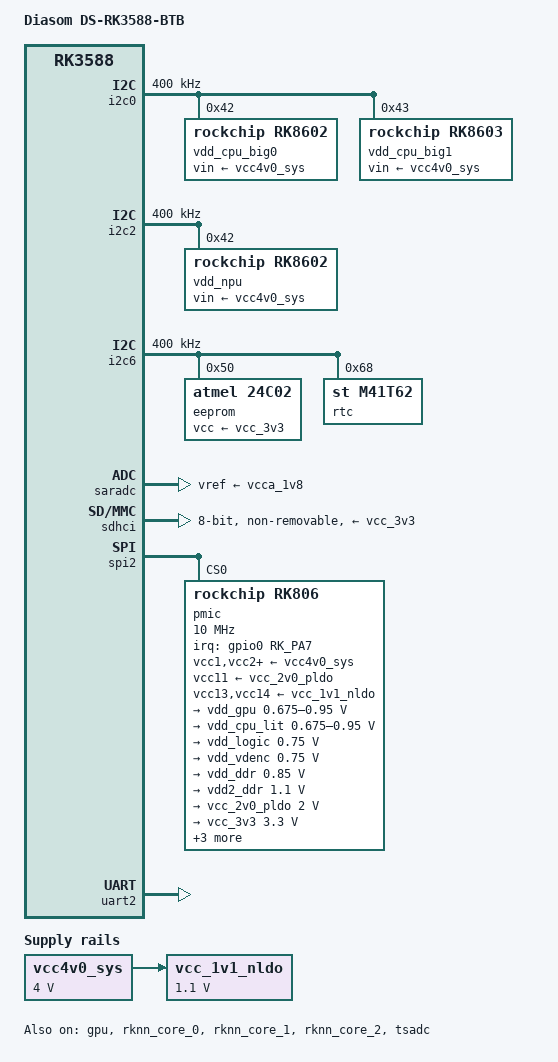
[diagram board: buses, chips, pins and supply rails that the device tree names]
/* SPDX-License-Identifier: GPL-2.0+ */
/* SPDX-FileCopyrightText: Alexander Shiyan <shc_work@mail.ru> */

/dts-v1/;

#include <arm64/rockchip/rk8xx.h>
#include <arm64/rockchip/rk3588j.dtsi>
#include <dt-bindings/gpio/gpio.h>

#include "rk3588.dtsi"

/ {
	model = "Diasom DS-RK3588-BTB";
	compatible = "diasom,ds-rk3588-btb",
		     "rockchip,rk3588";
	chassis-type = "embedded";
	barebox,deep-probe;

	aliases {
		mmc0 = &sdhci;
		rtc0 = &rtc;
	};

	chosen: chosen {
		stdout-path = "serial2:1500000n8";

		environment-emmc {
			compatible = "barebox,environment";
			device-path = &sdhci, "partname:env";
			status = "disabled";
		};
	};

	/* Temporary add until 7.3 */
	can1: can@fea60000 {
		compatible = "rockchip,rk3588-canfd";
		reg = <0x0 0xfea60000 0x0 0x1000>;
		interrupts = <GIC_SPI 342 IRQ_TYPE_LEVEL_HIGH 0>;
		clocks = <&cru CLK_CAN1>, <&cru PCLK_CAN1>;
		clock-names = "baud", "pclk";
		assigned-clocks = <&cru CLK_CAN1>;
		assigned-clock-rates = <300000000>;
		resets = <&cru SRST_CAN1>, <&cru SRST_P_CAN1>;
		reset-names = "can", "apb";
		status = "disabled";
	};

	/* Temporary add until 7.3 */
	can2: can@fea70000 {
		compatible = "rockchip,rk3588-canfd";
		reg = <0x0 0xfea70000 0x0 0x1000>;
		interrupts = <GIC_SPI 343 IRQ_TYPE_LEVEL_HIGH 0>;
		clocks = <&cru CLK_CAN2>, <&cru PCLK_CAN2>;
		clock-names = "baud", "pclk";
		assigned-clocks = <&cru CLK_CAN2>;
		assigned-clock-rates = <300000000>;
		resets = <&cru SRST_CAN2>, <&cru SRST_P_CAN2>;
		reset-names = "can", "apb";
		status = "disabled";
	};

	vcc_1v1_nldo: vcc1v1-nldo-regulator {
		compatible = "regulator-fixed";
		regulator-name = "vcc_1v1_nldo";
		regulator-always-on;
		regulator-boot-on;
		regulator-min-microvolt = <1100000>;
		regulator-max-microvolt = <1100000>;
		vin-supply = <&vcc4v0_sys>;
	};

	vcc4v0_sys: vcc4v0-sys-regulator {
		compatible = "regulator-fixed";
		regulator-name = "4v0_sys";
		regulator-always-on;
		regulator-boot-on;
		regulator-min-microvolt = <4000000>;
		regulator-max-microvolt = <4000000>;
	};
};

/delete-node/ &xin32k;

&cpu_b0 {
	cpu-supply = <&vdd_cpu_big0>;
};

&cpu_b1 {
	cpu-supply = <&vdd_cpu_big0>;
};

&cpu_b2 {
	cpu-supply = <&vdd_cpu_big1>;
};

&cpu_b3 {
	cpu-supply = <&vdd_cpu_big1>;
};

&cpu_l0 {
	cpu-supply = <&vdd_cpu_lit>;
};

&cpu_l1 {
	cpu-supply = <&vdd_cpu_lit>;
};

&cpu_l2 {
	cpu-supply = <&vdd_cpu_lit>;
};

&cpu_l3 {
	cpu-supply = <&vdd_cpu_lit>;
};

&gpu {
	mali-supply = <&vdd_gpu>;
	status = "okay";
};

&hdmi0 {
	pinctrl-0 = <&hdmim0_tx0_hpd &hdmim2_tx0_scl &hdmim2_tx0_sda>;
};

&hdmi0_in {
	hdmi0_in_vp0: endpoint {
		remote-endpoint = <&vp0_out_hdmi0>;
	};
};

&hdmi0_out {
	hdmi0_out_con: endpoint {
		remote-endpoint = <&hdmi0_con_in>;
	};
};

&hdmi0_sound {
	simple-audio-card,name = "HDMI0";
};

&i2c0 {
	pinctrl-0 = <&i2c0m2_xfer>;
	clock-frequency = <400000>;
	status = "okay";

	vdd_cpu_big0: regulator@42 {
		compatible = "rockchip,rk8602";
		reg = <0x42>;
		fcs,suspend-voltage-selector = <1>;
		regulator-name = "vdd_cpu_big0";
		regulator-boot-on;
		regulator-min-microvolt = <675000>;
		regulator-max-microvolt = <950000>;
		regulator-enable-ramp-delay = <500>;
		regulator-ramp-delay = <2300>;
		vin-supply = <&vcc4v0_sys>;

		regulator-state-mem {
			regulator-off-in-suspend;
		};
	};

	vdd_cpu_big1: regulator@43 {
		compatible = "rockchip,rk8603", "rockchip,rk8602";
		reg = <0x43>;
		fcs,suspend-voltage-selector = <1>;
		regulator-name = "vdd_cpu_big1";
		regulator-boot-on;
		regulator-min-microvolt = <675000>;
		regulator-max-microvolt = <950000>;
		regulator-enable-ramp-delay = <500>;
		regulator-ramp-delay = <2300>;
		vin-supply = <&vcc4v0_sys>;

		regulator-state-mem {
			regulator-off-in-suspend;
		};
	};
};

&i2c2 {
	clock-frequency = <400000>;
	status = "okay";

	vdd_npu: regulator@42 {
		compatible = "rockchip,rk8602";
		reg = <0x42>;
		fcs,suspend-voltage-selector = <1>;
		regulator-name = "vdd_npu";
		/* boot/always-on are used to proper exit from "freeze" */
		regulator-always-on;
		regulator-boot-on;
		regulator-min-microvolt = <675000>;
		regulator-max-microvolt = <950000>;
		regulator-enable-ramp-delay = <500>;
		regulator-ramp-delay = <2300>;
		vin-supply = <&vcc4v0_sys>;

		regulator-state-mem {
			regulator-off-in-suspend;
		};
	};
};

&i2c6 {
	clock-frequency = <400000>;
	status = "okay";

	/* 24aa025e48 */
	eeprom@50 {
		compatible = "atmel,24c02";
		reg = <0x50>;
		pagesize = <16>;
		vcc-supply = <&vcc_3v3>;

		nvmem-layout {
			compatible = "fixed-layout";
			#address-cells = <1>;
			#size-cells = <1>;

			mac0: mac-address@fa {
				reg = <0xfa 0x06>;
				read-only;
			};
		};
	};

	/* rk628d */
	brg: hdmi@51 {
		pinctrl-names = "default";
		pinctrl-0 = <&brg_pins>;
		compatible = "rockchip,rk628";
		reg = <0x51>;
		interrupt-parent = <&gpio0>;
		interrupts = <RK_PD3 IRQ_TYPE_LEVEL_HIGH>;
		enable-gpios = <&gpio0 RK_PB0 GPIO_ACTIVE_HIGH>;
		reset-gpios = <&gpio0 RK_PC6 GPIO_ACTIVE_LOW>;
		rk628-hdmi-in;
		status = "disabled";
	};

	/* m41t62lc6f */
	rtc: rtc@68 {
		pinctrl-names = "default";
		pinctrl-0 = <&rtc_sqw_pins>;
		compatible = "st,m41t62";
		reg = <0x68>;

		clock {
			compatible = "fixed-clock";
			clock-accuracy = <2000>;
			clock-frequency = <32768>;
			clock-output-names = "xin32k";
			#clock-cells = <0>;
		};
	};
};

&pd_gpu {
	domain-supply = <&vdd_gpu>;
};

&pd_npu {
	domain-supply = <&vdd_npu>;
};

&power {
	power-domain@RK3588_PD_VCODEC {
		domain-supply = <&vdd_vdenc>;
	};
};

&rga3_core1 {
	/* Missing multi-core support */
	status = "disabled";
};

&rknn_core_0 {
	npu-supply = <&vdd_npu>;
	sram-supply = <&vdd_npu>;
	status = "okay";
};

&rknn_core_1 {
	npu-supply = <&vdd_npu>;
	sram-supply = <&vdd_npu>;
	status = "okay";
};

&rknn_core_2 {
	npu-supply = <&vdd_npu>;
	sram-supply = <&vdd_npu>;
	status = "okay";
};

&rknn_mmu_0 {
	status = "okay";
};

&rknn_mmu_1 {
	status = "okay";
};

&rknn_mmu_2 {
	status = "okay";
};

&saradc {
	vref-supply = <&vcca_1v8>;
	status = "okay";
};

&sdhci {
	bus-width = <8>;
	mmc-hs400-1_8v;
	mmc-hs400-enhanced-strobe;
	non-removable;
	no-sd;
	no-sdio;
	vmmc-supply = <&vcc_3v3>;
	vqmmc-supply = <&vcc_1v8>;
	status = "okay";
};

&sdmmc {
	cap-mmc-highspeed;
	cap-sd-highspeed;
	sd-uhs-sdr104;
	max-frequency = <150000000>;
	vqmmc-supply = <&vccio_sd>;
};

&spi2 {
	assigned-clocks = <&cru CLK_SPI2>;
	assigned-clock-rates = <200000000>;
	pinctrl-0 = <&spi2m2_cs0 &spi2m2_pins>;
	num-cs = <1>;
	status = "okay";

	pmic@0 {
		pinctrl-names = "default";
		pinctrl-0 = <
			&pmic_pins &rk806_dvs1_null
			&rk806_dvs2_null &rk806_dvs3_null
		>;
		compatible = "rockchip,rk806";
		reg = <0x0>;
		interrupt-parent = <&gpio0>;
		interrupts = <RK_PA7 IRQ_TYPE_LEVEL_LOW>;
		spi-max-frequency = <10000000>;
		system-power-controller;
		rockchip,reset-mode = <RK806_RESET_NOTIFY>;

		vcc1-supply = <&vcc4v0_sys>;
		vcc2-supply = <&vcc4v0_sys>;
		vcc3-supply = <&vcc4v0_sys>;
		vcc4-supply = <&vcc4v0_sys>;
		vcc5-supply = <&vcc4v0_sys>;
		vcc6-supply = <&vcc4v0_sys>;
		vcc7-supply = <&vcc4v0_sys>;
		vcc8-supply = <&vcc4v0_sys>;
		vcc9-supply = <&vcc4v0_sys>;
		vcc10-supply = <&vcc4v0_sys>;
		vcc11-supply = <&vcc_2v0_pldo>;
		vcc12-supply = <&vcc4v0_sys>;
		vcc13-supply = <&vcc_1v1_nldo>;
		vcc14-supply = <&vcc_1v1_nldo>;
		vcca-supply = <&vcc4v0_sys>;

		gpio-controller;
		wakeup-source;
		#gpio-cells = <2>;

		rk806_dvs1_null: dvs1-null-pins {
			pins = "gpio_pwrctrl1";
			function = "pin_fun0";
		};

		rk806_dvs2_null: dvs2-null-pins {
			pins = "gpio_pwrctrl2";
			function = "pin_fun0";
		};

		rk806_dvs3_null: dvs3-null-pins {
			pins = "gpio_pwrctrl3";
			function = "pin_fun0";
		};

		regulators {
			vdd_gpu: dcdc-reg1 {
				regulator-name = "vdd_gpu";
				regulator-min-microvolt = <675000>;
				regulator-max-microvolt = <950000>;
				regulator-enable-ramp-delay = <400>;
				regulator-ramp-delay = <12500>;

				regulator-state-mem {
					regulator-off-in-suspend;
				};
			};

			vdd_cpu_lit: dcdc-reg2 {
				regulator-name = "vdd_cpu_lit";
				regulator-boot-on;
				regulator-min-microvolt = <675000>;
				regulator-max-microvolt = <950000>;
				regulator-ramp-delay = <12500>;

				regulator-state-mem {
					regulator-off-in-suspend;
				};
			};

			dcdc-reg3 {
				regulator-name = "vdd_logic";
				regulator-always-on;
				regulator-boot-on;
				regulator-min-microvolt = <750000>;
				regulator-max-microvolt = <750000>;
				regulator-ramp-delay = <12500>;

				regulator-state-mem {
					regulator-off-in-suspend;
				};
			};

			vdd_vdenc: dcdc-reg4 {
				regulator-name = "vdd_vdenc";
				/* boot/always-on are used to proper exit from "freeze" */
				regulator-always-on;
				regulator-boot-on;
				regulator-min-microvolt = <750000>;
				regulator-max-microvolt = <750000>;
				regulator-ramp-delay = <12500>;

				regulator-state-mem {
					regulator-off-in-suspend;
				};
			};

			dcdc-reg5 {
				regulator-name = "vdd_ddr";
				regulator-always-on;
				regulator-boot-on;
				regulator-min-microvolt = <850000>;
				regulator-max-microvolt = <850000>;
				regulator-ramp-delay = <12500>;

				regulator-state-mem {
					regulator-on-in-suspend;
					regulator-suspend-microvolt = <750000>;
				};
			};

			dcdc-reg6 {
				regulator-name = "vdd2_ddr";
				regulator-always-on;
				regulator-boot-on;
				regulator-min-microvolt = <1100000>;
				regulator-max-microvolt = <1100000>;

				regulator-state-mem {
					regulator-on-in-suspend;
					regulator-suspend-microvolt = <1100000>;
				};
			};

			vcc_2v0_pldo: dcdc-reg7 {
				regulator-name = "vdd_2v0_pldo";
				regulator-min-microvolt = <2000000>;
				regulator-max-microvolt = <2000000>;
				regulator-ramp-delay = <12500>;

				regulator-state-mem {
					regulator-on-in-suspend;
					regulator-suspend-microvolt = <2000000>;
				};
			};

			vcc_3v3: dcdc-reg8 {
				regulator-name = "vcc_3v3";
				regulator-always-on;
				regulator-boot-on;
				regulator-min-microvolt = <3300000>;
				regulator-max-microvolt = <3300000>;

				regulator-state-mem {
					regulator-on-in-suspend;
					regulator-suspend-microvolt = <3300000>;
				};
			};

			dcdc-reg9 {
				regulator-name = "vddq_ddr";
				regulator-always-on;
				regulator-boot-on;
				regulator-min-microvolt = <600000>;
				regulator-max-microvolt = <600000>;

				regulator-state-mem {
					regulator-on-in-suspend;
					regulator-suspend-microvolt = <600000>;
				};
			};

			vcc_1v8: dcdc-reg10 {
				regulator-name = "vcc_1v8";
				regulator-always-on;
				regulator-boot-on;
				regulator-min-microvolt = <1800000>;
				regulator-max-microvolt = <1800000>;

				regulator-state-mem {
					regulator-on-in-suspend;
					regulator-suspend-microvolt = <1800000>;
				};
			};

			vcca_1v8: pldo-reg1 {
				regulator-name = "vcca_1v8";
				regulator-always-on;
				regulator-boot-on;
				regulator-min-microvolt = <1800000>;
				regulator-max-microvolt = <1800000>;

				regulator-state-mem {
					regulator-on-in-suspend;
					regulator-suspend-microvolt = <1800000>;
				};
			};

			vcca_1v8_image: pldo-reg2 {
				regulator-name = "vcca_1v8_image";
				regulator-always-on;
				regulator-boot-on;
				regulator-min-microvolt = <1800000>;
				regulator-max-microvolt = <1800000>;

				regulator-state-mem {
					regulator-off-in-suspend;
				};
			};

			vcca_1v2_image: pldo-reg3 {
				regulator-name = "vcca_1v2_image";
				regulator-always-on;
				regulator-boot-on;
				regulator-min-microvolt = <1200000>;
				regulator-max-microvolt = <1200000>;

				regulator-state-mem {
					regulator-off-in-suspend;
				};
			};

			vcca_3v3: pldo-reg4 {
				regulator-name = "vcca_3v3";
				regulator-always-on;
				regulator-boot-on;
				regulator-min-microvolt = <3300000>;
				regulator-max-microvolt = <3300000>;
				regulator-ramp-delay = <12500>;

				regulator-state-mem {
					regulator-off-in-suspend;
				};
			};

			vccio_sd: pldo-reg5 {
				regulator-name = "vccio_sd";
				regulator-always-on;
				regulator-boot-on;
				regulator-min-microvolt = <1800000>;
				regulator-max-microvolt = <3300000>;
				regulator-ramp-delay = <12500>;

				regulator-state-mem {
					regulator-off-in-suspend;
				};
			};

			pldo-reg6 {
				/* Unused */
				regulator-state-mem {
					regulator-off-in-suspend;
				};
			};

			vdda_0v75_pmu: nldo-reg1 {
				regulator-name = "vdda_0v75_pmu";
				regulator-always-on;
				regulator-boot-on;
				regulator-min-microvolt = <750000>;
				regulator-max-microvolt = <750000>;

				regulator-state-mem {
					regulator-on-in-suspend;
					regulator-suspend-microvolt = <750000>;
				};
			};

			vdda_ddr_pll: nldo-reg2 {
				regulator-name = "vdda_ddr_pll";
				regulator-always-on;
				regulator-boot-on;
				regulator-min-microvolt = <850000>;
				regulator-max-microvolt = <850000>;

				regulator-state-mem {
					regulator-on-in-suspend;
					regulator-suspend-microvolt = <750000>;
				};
			};

			vdda_0v75_image: nldo-reg3 {
				regulator-name = "vdda_0v75_image";
				regulator-always-on;
				regulator-boot-on;
				regulator-min-microvolt = <750000>;
				regulator-max-microvolt = <750000>;

				regulator-state-mem {
					regulator-off-in-suspend;
				};
			};

			vdda_0v85: nldo-reg4 {
				regulator-name = "vdda_0v85";
				regulator-always-on;
				regulator-boot-on;
				regulator-min-microvolt = <850000>;
				regulator-max-microvolt = <850000>;

				regulator-state-mem {
					regulator-off-in-suspend;
				};
			};

			vdda_0v75: nldo-reg5 {
				regulator-name = "vdda_0v75";
				regulator-always-on;
				regulator-boot-on;
				regulator-min-microvolt = <750000>;
				regulator-max-microvolt = <750000>;

				regulator-state-mem {
					regulator-off-in-suspend;
				};
			};
		};
	};
};

&tsadc {
	rockchip,hw-tshut-mode = <1>;
	rockchip,hw-tshut-polarity = <0>;
	status = "okay";
};

&uart2 {
	/delete-property/ dmas;
	/delete-property/ dma-names;
	pinctrl-0 = <&uart2m0_xfer>;
	wakeup-source;
	status = "okay";
};

&vdec1 {
	/* Missing multi-core support */
	status = "disabled";
};

&vepu121_1 {
	/* Missing multi-core support */
	status = "disabled";
};

&vepu121_2 {
	/* Missing multi-core support */
	status = "disabled";
};

&vepu121_3 {
	/* Missing multi-core support */
	status = "disabled";
};

&pinctrl {
	brg {
		brg_pins: brg-pins {
			rockchip,pins =
				<0 RK_PB0 RK_FUNC_GPIO &pcfg_pull_none>,	/* LVDS_BRG_EN */
				<0 RK_PC6 RK_FUNC_GPIO &pcfg_pull_up>,		/* LVDS_BRG_33_RSTN */
				<0 RK_PD3 RK_FUNC_GPIO &pcfg_pull_none>;	/* LVDS_BRG_33_INT */
		};
	};

	rtc {
		rtc_sqw_pins: rtc-sqw-pins {
			rockchip,pins =
				<0 RK_PB2 1 &pcfg_pull_up>;			/* clk32k_in */
		};
	};
};
